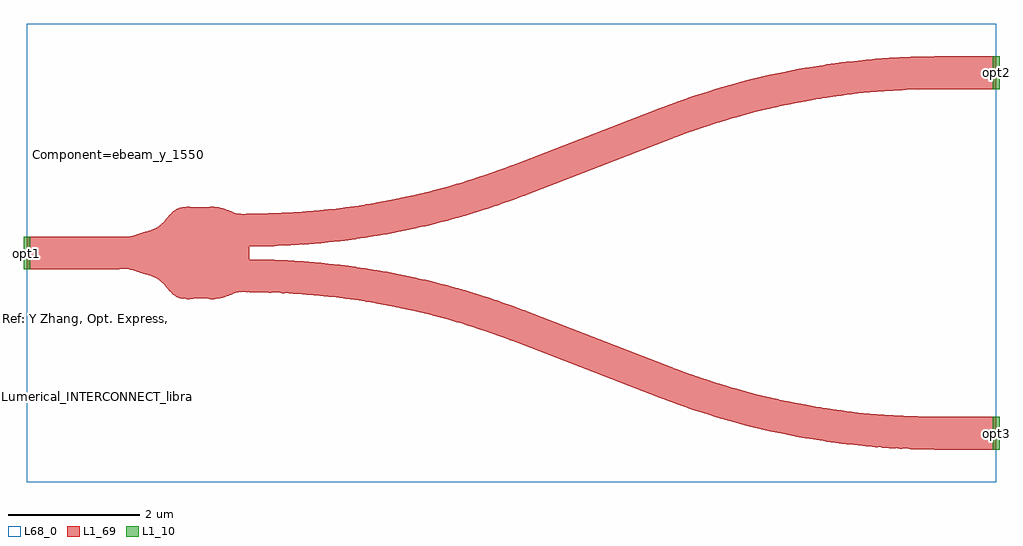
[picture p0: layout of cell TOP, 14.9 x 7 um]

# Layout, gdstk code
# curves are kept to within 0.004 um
import gdstk
lib = gdstk.Library(unit=1e-6, precision=1e-09)
def R(c, l, rs):  # rectangles x0, y0, x1, y1
    for r in rs: c.add(gdstk.rectangle(r[:2], r[2:], *l))
def P(c, l, *ps):  # polygons
    for p in ps: c.add(gdstk.Polygon(p, *l))
L1_10 = (1, 10)
L1_69 = (1, 69)
L68_0 = (68, 0)

top = lib.new_cell('TOP')
R(top, L1_69, [(9.91,-0.38,10.81,0.12), (-3.99,2.37,-2.59,2.87), (9.91,5.12,10.81,5.62)])
P(top, L1_69, [(9.868,-0.38),(9.647,-0.377),(9.647,0.123),(9.91,0.12),(9.91,-0.38)],
  [(8.443,-0.288),(8.063,-0.234),(7.698,-0.17),(7.351,-0.098),(7,-0.014),(6.682,0.072),(6.332,0.178),(5.965,0.302),(5.675,0.41),(5.855,0.876),(6.195,0.751),(6.485,0.654),(6.847,0.545),(7.141,0.466),(7.442,0.394),(7.782,0.323),(8.103,0.266),(8.443,0.216)],
  [(9.643,-0.377),(9.356,-0.367),(9.029,-0.347),(8.443,-0.288),(8.443,0.216),(9.035,0.154),(9.368,0.133),(9.647,0.123)],
  [(5.675,0.41),(3.465,1.264),(3.645,1.73),(5.855,0.876)],
  [(2.648,1.544),(2.287,1.646),(1.878,1.746),(1.501,1.824),(1.076,1.896),(0.618,1.955),(0.232,1.99),(-0.191,2.013),(-0.59,2.02),(-0.59,2.52),(-0.155,2.512),(0.25,2.49),(0.616,2.458),(1.029,2.408),(1.442,2.343),(1.845,2.265),(2.196,2.185),(2.648,2.065)],
  [(3.465,1.264),(3.041,1.418),(2.648,1.544),(2.648,2.065),(3.147,1.91),(3.645,1.73)],
  [(9.647,5.117),(9.647,5.617),(9.91,5.62),(9.91,5.12)],
  [(5.855,4.364),(5.677,4.831),(5.965,4.938),(6.332,5.062),(6.682,5.168),(7,5.254),(7.351,5.338),(7.698,5.41),(8.063,5.474),(8.443,5.528),(8.443,5.024),(8.103,4.974),(7.782,4.917),(7.442,4.846),(7.141,4.774),(6.847,4.695),(6.485,4.586),(6.195,4.489)],
  [(8.443,5.024),(8.443,5.528),(9.029,5.587),(9.356,5.607),(9.647,5.617),(9.647,5.117),(9.368,5.107),(9.035,5.086)],
  [(3.645,3.51),(3.465,3.976),(5.675,4.83),(5.855,4.364)],
  [(-0.59,2.72),(-0.59,3.22),(-0.191,3.227),(0.232,3.25),(0.618,3.285),(1.076,3.344),(1.501,3.416),(1.878,3.494),(2.287,3.594),(2.648,3.696),(2.648,3.175),(2.196,3.055),(1.845,2.975),(1.442,2.897),(1.029,2.832),(0.616,2.782),(0.25,2.75),(-0.155,2.728)],
  [(2.648,3.175),(2.648,3.696),(3.041,3.822),(3.465,3.976),(3.645,3.51),(3.147,3.33)],
  [(-1.712,1.958),(-1.769,2.001),(-1.934,2.18),(-1.98,2.216),(-2.032,2.246),(-2.126,2.282),(-2.398,2.365),(-2.473,2.375),(-2.59,2.37),(-2.59,2.87),(-2.473,2.865),(-2.407,2.873),(-2.126,2.958),(-2.032,2.994),(-1.98,3.024),(-1.934,3.06),(-1.794,3.214),(-1.712,3.282)],
  [(-1.547,1.917),(-1.637,1.928),(-1.712,1.958),(-1.712,3.282),(-1.652,3.308),(-1.568,3.322),(-1.128,3.323),(-1.014,3.305),(-0.822,3.237),(-0.757,3.22),(-0.713,3.215),(-0.59,3.22),(-0.59,2.02),(-0.657,2.025),(-0.757,2.02),(-0.822,2.003),(-0.993,1.941),(-1.099,1.919)])
R(top, L68_0, [(-3.99,-0.88,10.81,6.12)])
top.add(gdstk.FlexPath([(-3.94,2.62),(-4.04,2.62)], 0.5, ends="flush", simple_path=True, layer=1, datatype=10))  # L1_10
top.add(gdstk.FlexPath([(10.76,5.37),(10.86,5.37)], 0.5, ends="flush", simple_path=True, layer=1, datatype=10))  # L1_10
top.add(gdstk.FlexPath([(10.76,-0.13),(10.86,-0.13)], 0.5, ends="flush", simple_path=True, layer=1, datatype=10))  # L1_10
top.add(gdstk.Label('Ref: Y Zhang, Opt. Express, 21/1, 2013', (-4.09,1.62), layer=10, texttype=0))
top.add(gdstk.Label('opt2', (10.81,5.37), layer=1, texttype=10))
top.add(gdstk.Label('opt3', (10.81,-0.13), layer=1, texttype=10))
top.add(gdstk.Label('opt1', (-3.99,2.62), layer=1, texttype=10))
top.add(gdstk.Label('Component=ebeam_y_1550', (-2.59,4.12), layer=68, texttype=0))
top.add(gdstk.Label('Lumerical_INTERCONNECT_library=Design kits/ebeam', (-3.45,0.43), layer=68, texttype=0))

lib.write_gds('TOP.gds')
